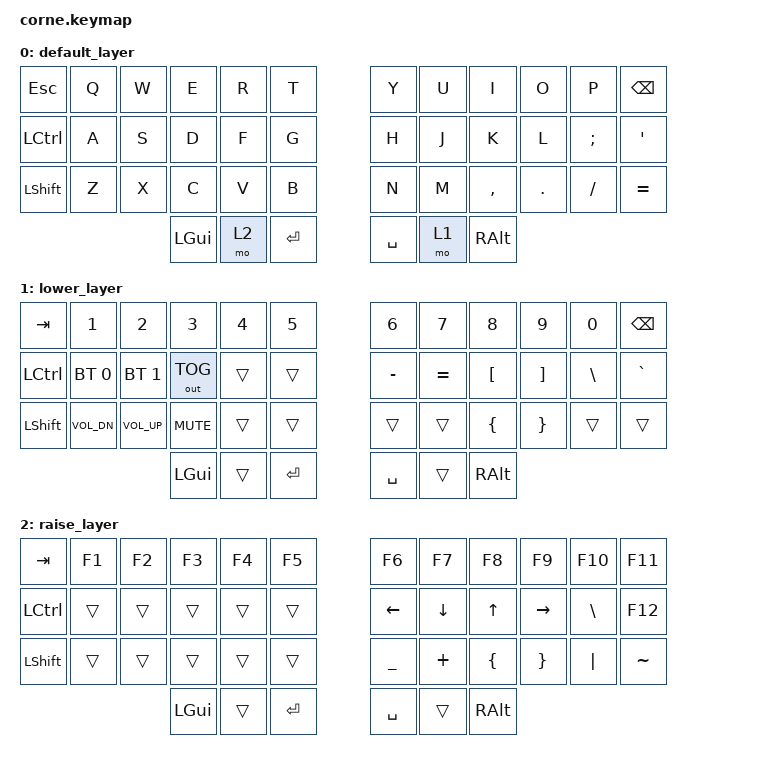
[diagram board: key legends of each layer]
/*
 * Copyright (c) 2020 The ZMK Contributors
 *
 * SPDX-License-Identifier: MIT
 */

#include <behaviors.dtsi>
#include <dt-bindings/zmk/keys.h>
#include <dt-bindings/zmk/bt.h>
#include <dt-bindings/zmk/outputs.h>

/ {
        keymap {
                compatible = "zmk,keymap";

                default_layer {
// -----------------------------------------------------------------------------------------
// | ESC  |  Q  |  W  |  E  |  R  |  T  |   |  Y  |  U   |  I  |  O  |  P  | BKSP |
// | CTRL |  A  |  S  |  D  |  F  |  G  |   |  H  |  J   |  K  |  L  |  ;  |  '   |
// | SHFT |  Z  |  X  |  C  |  V  |  B  |   |  N  |  M   |  ,  |  .  |  /  |  =   |
//                    | GUI | RSE | ENT |   | SPC | LWR  | ALT |
                        bindings = <
   &kp ESC   &kp Q &kp W &kp E &kp R &kp T   &kp Y &kp U  &kp I     &kp O   &kp P    &kp BSPC
   &kp LCTRL &kp A &kp S &kp D &kp F &kp G   &kp H &kp J  &kp K     &kp L   &kp SEMI &kp SQT
   &kp LSHFT &kp Z &kp X &kp C &kp V &kp B   &kp N &kp M  &kp COMMA &kp DOT &kp FSLH &kp EQUAL
                  &kp LGUI &mo 2 &kp RET   &kp SPACE &mo 1 &kp RALT
                        >;
                };
                lower_layer {
// -----------------------------------------------------------------------------------------
// | TAB  |  1    |  2     |  3      |  4  |  5  |   |  6  |  7  |  8  |  9  |  0  | BKSP |
// | CTRL |  BT1  |  BT2   |  BT TOG |     |     |   |  -  |  =  |  [  |  ]  |  \  |  `   |
// | SHFT |  VOL- |  VOL+  |  MUTE   |     |     |   |     |     |  {  |  }  |     |      |
//                | GUI    |         | ENT |     |SPC|     | ALT |
                        bindings = <
   &kp TAB    &kp N1         &kp N2         &kp N3       &kp N4       &kp N5   &kp N6     &kp N7     &kp N8    &kp N9     &kp N0    &kp BSPC
   &kp LCTRL  &bt BT_SEL 0   &bt BT_SEL 1   &out OUT_TOG       &trans       &trans   &kp MINUS  &kp EQUAL  &kp LBKT  &kp RBKT   &kp BSLH  &kp GRAVE
   &kp LSHFT  &kp C_VOL_DN   &kp C_VOL_UP   &kp K_MUTE   &trans       &trans   &trans     &trans     &kp LBRC  &kp RBRC   &trans    &trans
                                    &kp LGUI     &trans       &kp RET      &kp SPACE  &trans   &kp RALT
                        >;
                };

                raise_layer {
// -----------------------------------------------------------------------------------------
// | TAB  |  F1  |  F2  |  F3  |  F4  |  F5  |   |  F6  |  F7  |  F8  |  F9  |  F10  | F11 |
// | CTRL |      |      |      |      |      |   |  LFT |  DWN |  UP  |  RGT |   \   | F12 |
// | SHFT |      |      |      |      |      |   |  _   |  +   |  {   |  }   |  "|"  |  ~  |
//                    | GUI |     | ENT |    | SPC |     | ALT |
                        bindings = <
   &kp  TAB  &kp F1   &kp F2 &kp F3   &kp F4    &kp F5      &kp F6    &kp F7    &kp F8     &kp F9    &kp F10  &kp F11
   &kp LCTRL &trans   &trans &trans   &trans    &trans      &kp LEFT  &kp DOWN  &kp UP     &kp RIGHT &kp BSLH &kp F12
   &kp LSHFT &trans   &trans &trans   &trans    &trans      &kp UNDER &kp PLUS  &kp LBRC   &kp RBRC  &kp PIPE &kp TILDE
                             &kp LGUI &trans    &kp RET   &kp SPACE   &trans    &kp RALT
                        >;
                };
        };
};
